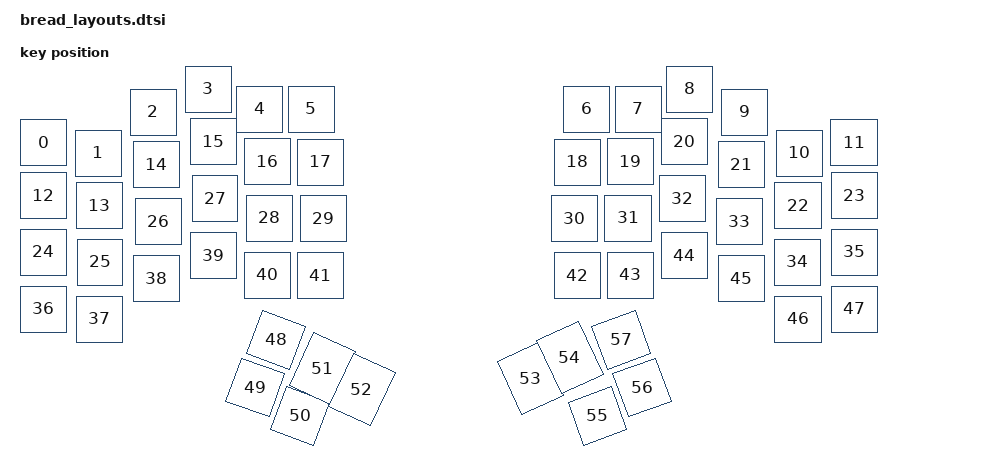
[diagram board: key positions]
#include <physical_layouts.dtsi>

/ {
    physical_layout0: physical_layout_0 {
        compatible = "zmk,physical-layout";
        display-name = "Bread";

        kscan = <&kscan0>;
        //transform = <&matrix_transform0>;

        keys  //                     w   h    x    y     rot    rx    ry
            = <&key_physical_attrs 100 100    1  107       0     0     0>
            , <&key_physical_attrs 100 100  110  128       0     0     0>
            , <&key_physical_attrs 100 100  220   46       0     0     0>
            , <&key_physical_attrs 100 100  330    0       0     0     0>
            , <&key_physical_attrs 100 100  433   40       0     0     0>
            , <&key_physical_attrs 100 100  536   40       0     0     0>
            , <&key_physical_attrs 100 100 1087   40       0     0     0>
            , <&key_physical_attrs 100 100 1190   40       0     0     0>
            , <&key_physical_attrs 100 100 1293    0       0     0     0>
            , <&key_physical_attrs 100 100 1403   46       0     0     0>
            , <&key_physical_attrs 100 100 1513  128       0     0     0>
            , <&key_physical_attrs 100 100 1622  107       0     0     0>
            , <&key_physical_attrs 100 100    0  213       0     0     0>
            , <&key_physical_attrs 100 100  113  233       0     0     0>
            , <&key_physical_attrs 100 100  227  151       0     0     0>
            , <&key_physical_attrs 100 100  341  105       0     0     0>
            , <&key_physical_attrs 100 100  448  145       0     0     0>
            , <&key_physical_attrs 100 100  554  146       0     0     0>
            , <&key_physical_attrs 100 100 1069  146       0     0     0>
            , <&key_physical_attrs 100 100 1175  145       0     0     0>
            , <&key_physical_attrs 100 100 1282  105       0     0     0>
            , <&key_physical_attrs 100 100 1396  151       0     0     0>
            , <&key_physical_attrs 100 100 1510  233       0     0     0>
            , <&key_physical_attrs 100 100 1623  213       0     0     0>
            , <&key_physical_attrs 100 100    0  326       0     0     0>
            , <&key_physical_attrs 100 100  114  346       0     0     0>
            , <&key_physical_attrs 100 100  230  265       0     0     0>
            , <&key_physical_attrs 100 100  344  219       0     0     0>
            , <&key_physical_attrs 100 100  453  258       0     0     0>
            , <&key_physical_attrs 100 100  560  259       0     0     0>
            , <&key_physical_attrs 100 100 1063  259       0     0     0>
            , <&key_physical_attrs 100 100 1170  258       0     0     0>
            , <&key_physical_attrs 100 100 1279  219       0     0     0>
            , <&key_physical_attrs 100 100 1393  265       0     0     0>
            , <&key_physical_attrs 100 100 1509  346       0     0     0>
            , <&key_physical_attrs 100 100 1623  326       0     0     0>
            , <&key_physical_attrs 100 100    0  440       0     0     0>
            , <&key_physical_attrs 100 100  113  460       0     0     0>
            , <&key_physical_attrs 100 100  227  379       0     0     0>
            , <&key_physical_attrs 100 100  341  333       0     0     0>
            , <&key_physical_attrs 100 100  448  372       0     0     0>
            , <&key_physical_attrs 100 100  554  373       0     0     0>
            , <&key_physical_attrs 100 100 1069  373       0     0     0>
            , <&key_physical_attrs 100 100 1175  372       0     0     0>
            , <&key_physical_attrs 100 100 1282  333       0     0     0>
            , <&key_physical_attrs 100 100 1396  379       0     0     0>
            , <&key_physical_attrs 100 100 1510  460       0     0     0>
            , <&key_physical_attrs 100 100 1623  440       0     0     0>
            , <&key_physical_attrs 100 100  485  505    2000   535   500>
            , <&key_physical_attrs 100 100  442  600    2000   492   600>
            , <&key_physical_attrs 100 100  514  654    2000   564   704>
            , <&key_physical_attrs 125 100  564  548   11500   614   598>
            , <&key_physical_attrs 125 100  643  590   11500   693   640>
            , <&key_physical_attrs 125 100  980  590 (-11500)  1030   640>
            , <&key_physical_attrs 125 100 1059  548 (-11500)  1109   598>
            , <&key_physical_attrs 100 100 1109  654 (-2000)  1159   704>
            , <&key_physical_attrs 100 100 1181  600 (-2000)  1231   600>
            , <&key_physical_attrs 100 100 1138  505 (-2000)  1188   500>
            ;
    };
};
